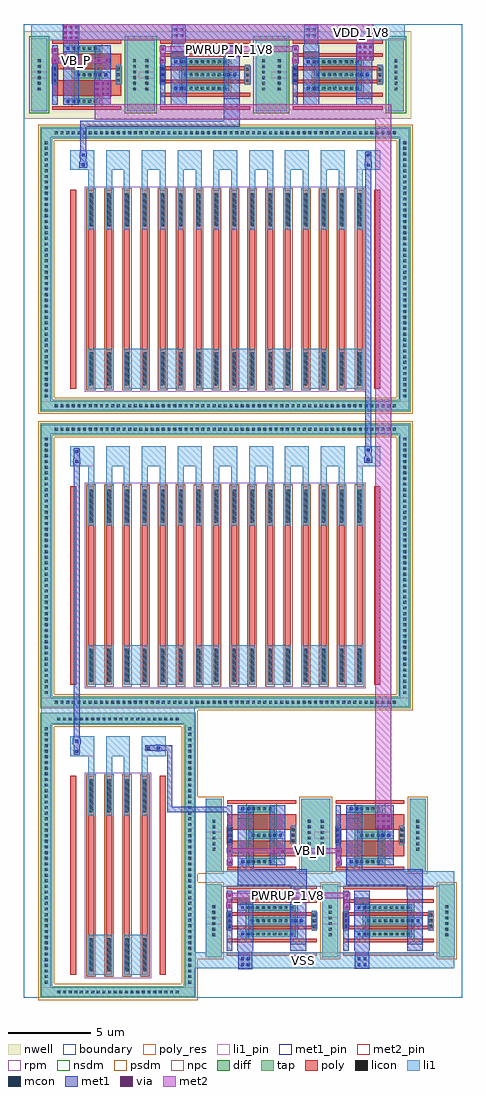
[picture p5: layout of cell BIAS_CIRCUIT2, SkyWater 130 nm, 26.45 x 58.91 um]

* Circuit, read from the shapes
.subckt BIAS_CIRCUIT2 PWRUP_1V8 PWRUP_N_1V8 VB_N VB_P VDD_1V8 VSS
XM1 JNWATR_NCH_8C1F2_6/D PWRUP_1V8 VSS VSS sky130_fd_pr__nfet_01v8 w=2.88 l=0.22 m=2
XM2 VB_N VB_N JNWATR_NCH_8C1F2_6/D VSS sky130_fd_pr__nfet_01v8 w=1.6 l=0.94 m=2
XM3 VB_P VB_N JNWATR_NCH_8C1F2_9/D VSS sky130_fd_pr__nfet_01v8 w=1.6 l=0.94 m=2
XM4 JNWATR_NCH_8C1F2_9/D PWRUP_1V8 VSS VSS sky130_fd_pr__nfet_01v8 w=2.88 l=0.22 m=2
XM5 VB_P VB_P JNWATR_PCH_8C1F2_3/D VDD_1V8 sky130_fd_pr__pfet_01v8 w=1.6 l=0.94 m=2
XM6 JNWATR_PCH_8C1F2_7/D PWRUP_N_1V8 VDD_1V8 VDD_1V8 sky130_fd_pr__pfet_01v8 w=2.88 l=0.22 m=2
XM7 JNWATR_PCH_8C1F2_3/D PWRUP_N_1V8 VDD_1V8 VDD_1V8 sky130_fd_pr__pfet_01v8 w=2.88 l=0.22 m=2
XR8 JNWTR_RPPO16_1/N n1 VSS sky130_fd_pr__res_high_po w=0.36 l=7.24
XR9 JNWTR_RPPO16_1/N n2 VSS sky130_fd_pr__res_high_po w=0.36 l=7.24
XR10 JNWATR_PCH_8C1F2_7/D n3 VSS sky130_fd_pr__res_high_po w=0.36 l=7.24
XR11 n4 n1 VSS sky130_fd_pr__res_high_po w=0.36 l=7.24
XR12 n5 n2 VSS sky130_fd_pr__res_high_po w=0.36 l=7.24
XR13 n6 n3 VSS sky130_fd_pr__res_high_po w=0.36 l=7.24
XR14 n4 n7 VSS sky130_fd_pr__res_high_po w=0.36 l=7.24
XR15 n5 n8 VSS sky130_fd_pr__res_high_po w=0.36 l=7.24
XR16 n6 n9 VSS sky130_fd_pr__res_high_po w=0.36 l=7.24
XR17 VB_N n7 VSS sky130_fd_pr__res_high_po w=0.36 l=7.24
XR18 n10 n8 VSS sky130_fd_pr__res_high_po w=0.36 l=7.24
XR19 n11 n9 VSS sky130_fd_pr__res_high_po w=0.36 l=7.24
XR20 n10 n12 VSS sky130_fd_pr__res_high_po w=0.36 l=7.24
XR21 n11 n13 VSS sky130_fd_pr__res_high_po w=0.36 l=7.24
XR22 n14 n12 VSS sky130_fd_pr__res_high_po w=0.36 l=7.24
XR23 n15 n13 VSS sky130_fd_pr__res_high_po w=0.36 l=7.24
XR24 n14 n16 VSS sky130_fd_pr__res_high_po w=0.36 l=7.24
XR25 n15 n17 VSS sky130_fd_pr__res_high_po w=0.36 l=7.24
XR26 n18 n16 VSS sky130_fd_pr__res_high_po w=0.36 l=7.24
XR27 n19 n17 VSS sky130_fd_pr__res_high_po w=0.36 l=7.24
XR28 n18 n20 VSS sky130_fd_pr__res_high_po w=0.36 l=7.24
XR29 n19 n21 VSS sky130_fd_pr__res_high_po w=0.36 l=7.24
XR30 n22 n20 VSS sky130_fd_pr__res_high_po w=0.36 l=7.24
XR31 n23 n21 VSS sky130_fd_pr__res_high_po w=0.36 l=7.24
XR32 n22 n24 VSS sky130_fd_pr__res_high_po w=0.36 l=7.24
XR33 n23 n25 VSS sky130_fd_pr__res_high_po w=0.36 l=7.24
XR34 n26 n24 VSS sky130_fd_pr__res_high_po w=0.36 l=7.24
XR35 n27 n25 VSS sky130_fd_pr__res_high_po w=0.36 l=7.24
XR36 n26 n28 VSS sky130_fd_pr__res_high_po w=0.36 l=7.24
XR37 n27 n29 VSS sky130_fd_pr__res_high_po w=0.36 l=7.24
XR38 n30 n28 VSS sky130_fd_pr__res_high_po w=0.36 l=7.24
XR39 n31 n29 VSS sky130_fd_pr__res_high_po w=0.36 l=7.24
XR40 n30 n32 VSS sky130_fd_pr__res_high_po w=0.36 l=7.24
XR41 n31 n33 VSS sky130_fd_pr__res_high_po w=0.36 l=7.24
XR42 JNWTR_RPPO16_2/N n32 VSS sky130_fd_pr__res_high_po w=0.36 l=7.24
XR43 JNWTR_RPPO16_2/N n33 VSS sky130_fd_pr__res_high_po w=0.36 l=7.24
.ends

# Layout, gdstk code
from math import pi, radians
import gdstk
lib = gdstk.Library(unit=1e-6, precision=1e-09)
def R(c, l, rs):  # rectangles x0, y0, x1, y1
    for r in rs: c.add(gdstk.rectangle(r[:2], r[2:], *l))
def A(c, l, x, y, w, h, nx, ny, dx, dy):  # array of equal rectangles
    R(c, l, [(x+i*dx, y+j*dy, x+i*dx+w, y+j*dy+h) for i in range(nx) for j in range(ny)])
nwell = (64, 20)
diff = (65, 20)
tap = (65, 44)
poly_res = (66, 13)
poly = (66, 20)
licon = (66, 44)
li1_pin = (67, 16)
li1 = (67, 20)
mcon = (67, 44)
met1_pin = (68, 16)
met1 = (68, 20)
via = (68, 44)
met2_pin = (69, 16)
met2 = (69, 20)
rpm = (86, 20)
nsdm = (93, 44)
psdm = (94, 20)
npc = (95, 20)
boundary = (235, 4)

jnwtr_res4 = lib.new_cell('JNWTR_RES4')
A(jnwtr_res4, poly_res, 0.9, 1.72, 0.36, 7.36, 4, 1, 1.08, 0)
A(jnwtr_res4, poly, -0.18, -0.6, 0.36, 12, 6, 1, 1.08, 0)
A(jnwtr_res4, licon, 0.985, -0.4, 0.19, 2, 4, 2, 1.08, 9.6)
R(jnwtr_res4, li1_pin, [(-0.18,12.6,1.26,13.8), (4.14,12.6,5.58,13.8)])
A(jnwtr_res4, li1, 0.9, 9, 0.36, 3.6, 4, 1, 1.08, 0)
A(jnwtr_res4, li1, -0.18, 12.6, 1.44, 1.2, 3, 1, 2.16, 0)
R(jnwtr_res4, li1, [(0.9,-0.6,2.34,1.8), (3.06,-0.6,4.5,1.8)])
R(jnwtr_res4, rpm, [(0.7,-0.8,4.7,11.6)])
A(jnwtr_res4, psdm, 0.79, -0.71, 0.58, 12.22, 4, 1, 1.08, 0)
A(jnwtr_res4, npc, 0.805, -0.695, 0.55, 12.19, 4, 1, 1.08, 0)
R(jnwtr_res4, boundary, [(0,0,5.4,13.2)])
jnwtr_res4.add(gdstk.Label('N', (0.54,13.2), layer=67, texttype=5))
jnwtr_res4.add(gdstk.Label('P', (4.86,13.2), layer=67, texttype=5))

jnwtr_rppo4 = lib.new_cell('JNWTR_RPPO4')
R(jnwtr_rppo4, tap, [(0,0,9.4,0.72), (0,0.72,0.72,16.48), (8.68,0.72,9.4,16.48), (0,16.48,9.4,17.2)])
A(jnwtr_rppo4, licon, 1.045, 0.275, 0.17, 0.17, 22, 2, 0.34, 16.48)
A(jnwtr_rppo4, licon, 0.275, 0.865, 0.17, 0.17, 1, 46, 0, 0.34)
A(jnwtr_rppo4, licon, 8.955, 0.865, 0.17, 0.17, 1, 46, 0, 0.34)
R(jnwtr_rppo4, li1_pin, [(0.08,0.08,9.32,0.64), (1.82,14.6,3.26,15.8), (6.14,14.6,7.58,15.8)])
R(jnwtr_rppo4, li1, [(0.08,0.08,9.32,0.64), (0.08,0.64,0.64,16.56), (8.76,0.64,9.32,16.56), (1.82,14.6,3.26,15.8), (6.14,14.6,7.58,15.8), (0.08,16.56,9.32,17.12)])
R(jnwtr_rppo4, psdm, [(-0.125,-0.125,9.525,0.845), (-0.125,0.845,0.845,16.355), (8.555,0.845,9.525,16.355), (-0.125,16.355,9.525,17.325)])
R(jnwtr_rppo4, boundary, [(0,0,9.4,17.2)])
jnwtr_rppo4.add(gdstk.Reference(jnwtr_res4, (2,2)))
jnwtr_rppo4.add(gdstk.Label('P', (6.86,15.2), layer=67, texttype=5))
jnwtr_rppo4.add(gdstk.Label('N', (2.54,15.2), layer=67, texttype=5))
jnwtr_rppo4.add(gdstk.Label('B', (4.7,0.36), layer=67, texttype=5))

jnwtr_res16 = lib.new_cell('JNWTR_RES16')
A(jnwtr_res16, poly_res, 0.9, 1.72, 0.36, 7.36, 16, 1, 1.08, 0)
A(jnwtr_res16, poly, -0.18, -0.6, 0.36, 12, 18, 1, 1.08, 0)
A(jnwtr_res16, licon, 0.985, -0.4, 0.19, 2, 16, 2, 1.08, 9.6)
R(jnwtr_res16, li1_pin, [(-0.18,12.6,1.26,13.8), (17.1,12.6,18.54,13.8)])
A(jnwtr_res16, li1, 0.9, -0.6, 1.44, 2.4, 8, 1, 2.16, 0)
A(jnwtr_res16, li1, 0.9, 9, 0.36, 3.6, 16, 1, 1.08, 0)
A(jnwtr_res16, li1, -0.18, 12.6, 1.44, 1.2, 9, 1, 2.16, 0)
R(jnwtr_res16, rpm, [(0.7,-0.8,17.66,11.6)])
A(jnwtr_res16, psdm, 0.79, -0.71, 0.58, 12.22, 16, 1, 1.08, 0)
A(jnwtr_res16, npc, 0.805, -0.695, 0.55, 12.19, 16, 1, 1.08, 0)
R(jnwtr_res16, boundary, [(0,0,18.36,13.2)])
jnwtr_res16.add(gdstk.Label('N', (0.54,13.2), layer=67, texttype=5))
jnwtr_res16.add(gdstk.Label('P', (17.82,13.2), layer=67, texttype=5))

jnwtr_rppo16 = lib.new_cell('JNWTR_RPPO16')
R(jnwtr_rppo16, tap, [(0,0,22.36,0.72), (0,0.72,0.72,16.48), (21.64,0.72,22.36,16.48), (0,16.48,22.36,17.2)])
A(jnwtr_rppo16, licon, 0.895, 0.275, 0.17, 0.17, 61, 2, 0.34, 16.48)
A(jnwtr_rppo16, licon, 0.275, 0.865, 0.17, 0.17, 1, 46, 0, 0.34)
A(jnwtr_rppo16, licon, 21.915, 0.865, 0.17, 0.17, 1, 46, 0, 0.34)
R(jnwtr_rppo16, li1_pin, [(0.08,0.08,22.28,0.64), (1.82,14.6,3.26,15.8), (19.1,14.6,20.54,15.8)])
R(jnwtr_rppo16, li1, [(0.08,0.08,22.28,0.64), (0.08,0.64,0.64,16.56), (21.72,0.64,22.28,16.56), (1.82,14.6,3.26,15.8), (19.1,14.6,20.54,15.8), (0.08,16.56,22.28,17.12)])
R(jnwtr_rppo16, psdm, [(-0.125,-0.125,22.485,0.845), (-0.125,0.845,0.845,16.355), (21.515,0.845,22.485,16.355), (-0.125,16.355,22.485,17.325)])
R(jnwtr_rppo16, boundary, [(0,0,22.36,17.2)])
jnwtr_rppo16.add(gdstk.Reference(jnwtr_res16, (2,2)))
jnwtr_rppo16.add(gdstk.Label('P', (19.82,15.2), layer=67, texttype=5))
jnwtr_rppo16.add(gdstk.Label('N', (2.54,15.2), layer=67, texttype=5))
jnwtr_rppo16.add(gdstk.Label('B', (11.18,0.36), layer=67, texttype=5))

jnwatr_pch_8c1f2 = lib.new_cell('JNWATR_PCH_8C1F2')
R(jnwatr_pch_8c1f2, nwell, [(-0.92,-0.64,7.96,4.64)])
R(jnwatr_pch_8c1f2, diff, [(2.08,1,4.96,3)])
R(jnwatr_pch_8c1f2, tap, [(-0.48,-0.2,0.48,4.2), (6.56,-0.2,7.52,4.2)])
A(jnwatr_pch_8c1f2, poly, 0.8, -0.11, 5.44, 0.22, 1, 6, 0, 0.8)
R(jnwatr_pch_8c1f2, poly, [(0.8,1.4,1.12,1.49), (5.92,1.4,6.24,1.49), (0.8,1.71,1.12,2.29), (5.92,1.71,6.24,2.29), (0.8,2.51,1.12,2.6), (5.92,2.51,6.24,2.6)])
A(jnwatr_pch_8c1f2, licon, -0.085, 1.065, 0.17, 0.17, 1, 6, 0, 0.34)
A(jnwatr_pch_8c1f2, licon, 6.955, 1.065, 0.17, 0.17, 1, 6, 0, 0.34)
A(jnwatr_pch_8c1f2, licon, 2.245, 1.115, 0.17, 0.17, 8, 3, 0.34, 0.8)
A(jnwatr_pch_8c1f2, licon, 0.87, 1.575, 0.17, 0.17, 1, 3, 0, 0.34)
A(jnwatr_pch_8c1f2, licon, 5.99, 1.575, 0.17, 0.17, 1, 3, 0, 0.34)
R(jnwatr_pch_8c1f2, li1_pin, [(-0.48,1.8,0.48,2.2)])
R(jnwatr_pch_8c1f2, li1, [(-0.48,-0.2,0.48,4.2), (6.56,-0.2,7.52,4.2), (1.44,1,4.96,1.4), (0.8,1.4,1.12,2.6), (5.92,1.4,6.24,2.6), (2.08,1.8,5.6,2.2), (1.44,2.6,4.96,3)])
A(jnwatr_pch_8c1f2, mcon, 0.87, 1.555, 0.17, 0.17, 1, 3, 0, 0.36)
R(jnwatr_pch_8c1f2, mcon, [(1.655,1.115,1.825,1.285), (2.015,1.115,2.185,1.285), (4.855,1.915,5.025,2.085), (5.215,1.915,5.385,2.085), (1.655,2.715,1.825,2.885), (2.015,2.715,2.185,2.885)])
R(jnwatr_pch_8c1f2, met1_pin, [(4.64,0.2,5.6,0.6), (0.8,1.8,1.12,2.2), (1.44,3,2.4,3.4)])
R(jnwatr_pch_8c1f2, met1, [(0.8,0.2,1.12,3.8), (1.44,0.2,2.4,3.8), (4.64,0.2,5.6,3.8)])
R(jnwatr_pch_8c1f2, nsdm, [(-0.605,-0.325,0.605,4.325), (6.435,-0.325,7.645,4.325)])
R(jnwatr_pch_8c1f2, psdm, [(1.955,0.875,5.085,3.125)])
R(jnwatr_pch_8c1f2, npc, [(0.77,1.475,1.14,2.525), (5.89,1.475,6.26,2.525)])
R(jnwatr_pch_8c1f2, boundary, [(0,0,7.04,4)])
jnwatr_pch_8c1f2.add(gdstk.Label('D', (5.12,0.4), layer=68, texttype=5))
jnwatr_pch_8c1f2.add(gdstk.Label('G', (0.96,2), layer=68, texttype=5))
jnwatr_pch_8c1f2.add(gdstk.Label('S', (1.92,3.2), layer=68, texttype=5))
jnwatr_pch_8c1f2.add(gdstk.Label('B', (0,2), layer=67, texttype=5))

jnwatr_pch_4c5f0 = lib.new_cell('JNWATR_PCH_4C5F0')
R(jnwatr_pch_4c5f0, nwell, [(-0.92,-0.64,6.68,4.64)])
R(jnwatr_pch_4c5f0, diff, [(2.08,0.2,3.68,3.8)])
R(jnwatr_pch_4c5f0, tap, [(-0.48,-0.2,0.48,4.2), (5.28,-0.2,6.24,4.2)])
R(jnwatr_pch_4c5f0, poly, [(0.8,-0.11,4.96,0.11), (0.8,0.73,4.96,1.67), (0.8,1.67,1.12,2.33), (4.64,1.67,4.96,2.33), (0.8,2.33,4.96,3.27), (0.8,3.89,4.96,4.11)])
A(jnwatr_pch_4c5f0, licon, 2.285, 0.315, 0.17, 0.17, 4, 3, 0.34, 1.6)
A(jnwatr_pch_4c5f0, licon, -0.085, 1.065, 0.17, 0.17, 1, 6, 0, 0.34)
A(jnwatr_pch_4c5f0, licon, 5.675, 1.065, 0.17, 0.17, 1, 6, 0, 0.34)
A(jnwatr_pch_4c5f0, licon, 0.87, 1.575, 0.17, 0.17, 1, 3, 0, 0.34)
A(jnwatr_pch_4c5f0, licon, 4.71, 1.575, 0.17, 0.17, 1, 3, 0, 0.34)
R(jnwatr_pch_4c5f0, li1_pin, [(-0.48,1.8,0.48,2.2)])
R(jnwatr_pch_4c5f0, li1, [(-0.48,-0.2,0.48,4.2), (5.28,-0.2,6.24,4.2), (1.44,0.2,3.68,0.6), (0.8,1.4,1.12,2.6), (4.64,1.4,4.96,2.6), (2.08,1.8,4.32,2.2), (1.44,3.4,3.68,3.8)])
A(jnwatr_pch_4c5f0, mcon, 0.87, 1.555, 0.17, 0.17, 1, 3, 0, 0.36)
R(jnwatr_pch_4c5f0, mcon, [(1.655,0.315,1.825,0.485), (2.015,0.315,2.185,0.485), (3.575,1.915,3.745,2.085), (3.935,1.915,4.105,2.085), (1.655,3.515,1.825,3.685), (2.015,3.515,2.185,3.685)])
R(jnwatr_pch_4c5f0, met1_pin, [(3.36,0.2,4.32,0.6), (0.8,1.8,1.12,2.2), (1.44,3,2.4,3.4)])
R(jnwatr_pch_4c5f0, met1, [(0.8,0.2,1.12,3.8), (1.44,0.2,2.4,3.8), (3.36,0.2,4.32,3.8)])
R(jnwatr_pch_4c5f0, nsdm, [(-0.605,-0.325,0.605,4.325), (5.155,-0.325,6.365,4.325)])
R(jnwatr_pch_4c5f0, psdm, [(1.955,0.075,3.805,3.925)])
R(jnwatr_pch_4c5f0, npc, [(0.77,1.475,1.14,2.525), (4.61,1.475,4.98,2.525)])
R(jnwatr_pch_4c5f0, boundary, [(0,0,5.76,4)])
jnwatr_pch_4c5f0.add(gdstk.Label('D', (3.84,0.4), layer=68, texttype=5))
jnwatr_pch_4c5f0.add(gdstk.Label('G', (0.96,2), layer=68, texttype=5))
jnwatr_pch_4c5f0.add(gdstk.Label('S', (1.92,3.2), layer=68, texttype=5))
jnwatr_pch_4c5f0.add(gdstk.Label('B', (0,2), layer=67, texttype=5))

jnwatr_nch_4c5f0 = lib.new_cell('JNWATR_NCH_4C5F0')
R(jnwatr_nch_4c5f0, diff, [(2.08,0.2,3.68,3.8)])
R(jnwatr_nch_4c5f0, tap, [(-0.48,-0.2,0.48,4.2), (5.28,-0.2,6.24,4.2)])
R(jnwatr_nch_4c5f0, poly, [(0.8,-0.11,4.96,0.11), (0.8,0.73,4.96,1.67), (0.8,1.67,1.12,2.33), (4.64,1.67,4.96,2.33), (0.8,2.33,4.96,3.27), (0.8,3.89,4.96,4.11)])
A(jnwatr_nch_4c5f0, licon, 2.285, 0.315, 0.17, 0.17, 4, 3, 0.34, 1.6)
A(jnwatr_nch_4c5f0, licon, -0.085, 1.065, 0.17, 0.17, 1, 6, 0, 0.34)
A(jnwatr_nch_4c5f0, licon, 5.675, 1.065, 0.17, 0.17, 1, 6, 0, 0.34)
A(jnwatr_nch_4c5f0, licon, 0.87, 1.575, 0.17, 0.17, 1, 3, 0, 0.34)
A(jnwatr_nch_4c5f0, licon, 4.71, 1.575, 0.17, 0.17, 1, 3, 0, 0.34)
R(jnwatr_nch_4c5f0, li1_pin, [(-0.48,1.8,0.48,2.2)])
R(jnwatr_nch_4c5f0, li1, [(-0.48,-0.2,0.48,4.2), (5.28,-0.2,6.24,4.2), (1.44,0.2,3.68,0.6), (0.8,1.4,1.12,2.6), (4.64,1.4,4.96,2.6), (2.08,1.8,4.32,2.2), (1.44,3.4,3.68,3.8)])
A(jnwatr_nch_4c5f0, mcon, 0.87, 1.555, 0.17, 0.17, 1, 3, 0, 0.36)
R(jnwatr_nch_4c5f0, mcon, [(1.655,0.315,1.825,0.485), (2.015,0.315,2.185,0.485), (3.575,1.915,3.745,2.085), (3.935,1.915,4.105,2.085), (1.655,3.515,1.825,3.685), (2.015,3.515,2.185,3.685)])
R(jnwatr_nch_4c5f0, met1_pin, [(3.36,0.2,4.32,0.6), (0.8,1.8,1.12,2.2), (1.44,3,2.4,3.4)])
R(jnwatr_nch_4c5f0, met1, [(0.8,0.2,1.12,3.8), (1.44,0.2,2.4,3.8), (3.36,0.2,4.32,3.8)])
R(jnwatr_nch_4c5f0, nsdm, [(1.955,0.075,3.805,3.925)])
R(jnwatr_nch_4c5f0, psdm, [(-0.605,-0.325,0.605,4.325), (5.155,-0.325,6.365,4.325)])
R(jnwatr_nch_4c5f0, npc, [(0.77,1.475,1.14,2.525), (4.61,1.475,4.98,2.525)])
R(jnwatr_nch_4c5f0, boundary, [(0,0,5.76,4)])
jnwatr_nch_4c5f0.add(gdstk.Label('D', (3.84,0.4), layer=68, texttype=5))
jnwatr_nch_4c5f0.add(gdstk.Label('G', (0.96,2), layer=68, texttype=5))
jnwatr_nch_4c5f0.add(gdstk.Label('S', (1.92,3.2), layer=68, texttype=5))
jnwatr_nch_4c5f0.add(gdstk.Label('B', (0,2), layer=67, texttype=5))

jnwatr_nch_8c1f2 = lib.new_cell('JNWATR_NCH_8C1F2')
R(jnwatr_nch_8c1f2, diff, [(2.08,1,4.96,3)])
R(jnwatr_nch_8c1f2, tap, [(-0.48,-0.2,0.48,4.2), (6.56,-0.2,7.52,4.2)])
A(jnwatr_nch_8c1f2, poly, 0.8, -0.11, 5.44, 0.22, 1, 6, 0, 0.8)
R(jnwatr_nch_8c1f2, poly, [(0.8,1.4,1.12,1.49), (5.92,1.4,6.24,1.49), (0.8,1.71,1.12,2.29), (5.92,1.71,6.24,2.29), (0.8,2.51,1.12,2.6), (5.92,2.51,6.24,2.6)])
A(jnwatr_nch_8c1f2, licon, -0.085, 1.065, 0.17, 0.17, 1, 6, 0, 0.34)
A(jnwatr_nch_8c1f2, licon, 6.955, 1.065, 0.17, 0.17, 1, 6, 0, 0.34)
A(jnwatr_nch_8c1f2, licon, 2.245, 1.115, 0.17, 0.17, 8, 3, 0.34, 0.8)
A(jnwatr_nch_8c1f2, licon, 0.87, 1.575, 0.17, 0.17, 1, 3, 0, 0.34)
A(jnwatr_nch_8c1f2, licon, 5.99, 1.575, 0.17, 0.17, 1, 3, 0, 0.34)
R(jnwatr_nch_8c1f2, li1_pin, [(-0.48,1.8,0.48,2.2)])
R(jnwatr_nch_8c1f2, li1, [(-0.48,-0.2,0.48,4.2), (6.56,-0.2,7.52,4.2), (1.44,1,4.96,1.4), (0.8,1.4,1.12,2.6), (5.92,1.4,6.24,2.6), (2.08,1.8,5.6,2.2), (1.44,2.6,4.96,3)])
A(jnwatr_nch_8c1f2, mcon, 0.87, 1.555, 0.17, 0.17, 1, 3, 0, 0.36)
R(jnwatr_nch_8c1f2, mcon, [(1.655,1.115,1.825,1.285), (2.015,1.115,2.185,1.285), (4.855,1.915,5.025,2.085), (5.215,1.915,5.385,2.085), (1.655,2.715,1.825,2.885), (2.015,2.715,2.185,2.885)])
R(jnwatr_nch_8c1f2, met1_pin, [(4.64,0.2,5.6,0.6), (0.8,1.8,1.12,2.2), (1.44,3,2.4,3.4)])
R(jnwatr_nch_8c1f2, met1, [(0.8,0.2,1.12,3.8), (1.44,0.2,2.4,3.8), (4.64,0.2,5.6,3.8)])
R(jnwatr_nch_8c1f2, nsdm, [(1.955,0.875,5.085,3.125)])
R(jnwatr_nch_8c1f2, psdm, [(-0.605,-0.325,0.605,4.325), (6.435,-0.325,7.645,4.325)])
R(jnwatr_nch_8c1f2, npc, [(0.77,1.475,1.14,2.525), (5.89,1.475,6.26,2.525)])
R(jnwatr_nch_8c1f2, boundary, [(0,0,7.04,4)])
jnwatr_nch_8c1f2.add(gdstk.Label('D', (5.12,0.4), layer=68, texttype=5))
jnwatr_nch_8c1f2.add(gdstk.Label('G', (0.96,2), layer=68, texttype=5))
jnwatr_nch_8c1f2.add(gdstk.Label('S', (1.92,3.2), layer=68, texttype=5))
jnwatr_nch_8c1f2.add(gdstk.Label('B', (0,2), layer=67, texttype=5))

bias_circuit2 = lib.new_cell('BIAS_CIRCUIT2')
R(bias_circuit2, li1_pin, [(13.26,33.22,19.52,34.18), (17.23,89.22,22.48,90.18)])
R(bias_circuit2, li1, [(12.48,33.21,13.26,33.22), (19.52,33.21,20.3,33.22), (9.32,33.22,25.48,34.18), (10.47,34.18,11.43,34.84), (10.47,37.32,11.43,38.12), (10.47,38.12,25.48,39.08), (2.53,46.15,2.83,46.45), (6.87,46.37,7.13,46.63), (7.47,46.37,7.73,46.63), (2.5,46.76,2.86,47.06), (0.56,47.98,1.12,48.42), (9.24,47.98,9.8,48.42), (0.56,48.52,9.8,49.08), (0.56,49.08,1.12,49.28), (9.24,49.08,9.8,49.28), (2.53,63.65,2.83,63.95), (20.1,63.76,20.46,64.06), (2.53,64.25,2.83,64.55), (20.13,64.35,20.43,64.65), (20.13,81.55,20.43,81.85), (2.9,81.56,3.26,81.86), (2.93,82.15,3.23,82.45), (20.13,82.15,20.43,82.45), (-0.06,88.14,0.9,89.22), (-0.06,89.22,22.48,90.18)])
R(bias_circuit2, mcon, [(12.605,33.335,12.775,33.505), (12.965,33.335,13.135,33.505), (19.645,33.335,19.815,33.505), (20.005,33.335,20.175,33.505), (12.605,33.695,12.775,33.865), (12.965,33.695,13.135,33.865), (19.645,33.695,19.815,33.865), (20.005,33.695,20.175,33.865), (2.595,46.215,2.765,46.385), (6.915,46.415,7.085,46.585), (7.515,46.415,7.685,46.585), (2.595,46.825,2.765,46.995), (2.595,63.715,2.765,63.885), (20.195,63.825,20.365,63.995), (2.595,64.315,2.765,64.485), (20.195,64.415,20.365,64.585), (20.195,81.615,20.365,81.785), (2.995,81.625,3.165,81.795), (2.995,82.215,3.165,82.385), (20.195,82.215,20.365,82.385), (8.575,89.435,8.745,89.605), (8.935,89.435,9.105,89.605), (16.575,89.435,16.745,89.605), (16.935,89.435,17.105,89.605), (8.575,89.795,8.745,89.965), (8.935,89.795,9.105,89.965), (16.575,89.795,16.745,89.965), (16.935,89.795,17.105,89.965)])
R(bias_circuit2, met1, [(12.45,33.15,13.29,35.12), (19.46,33.18,20.36,34.02), (19.49,34.02,20.33,35.12), (18.84,36.71,19.16,37.09), (11.74,36.81,12.06,37.19), (11.75,37.41,12.07,37.79), (18.84,37.41,19.16,37.44), (15.62,37.42,16.58,38.22), (18.81,37.44,19.19,37.76), (22.62,37.52,23.58,38.22), (18.84,37.76,19.16,37.79), (12.41,38.22,16.58,39.18), (18.95,38.22,23.58,39.18), (12.41,39.18,13.37,40.76), (18.95,39.18,19.91,40.76), (11.77,39.41,12.09,39.79), (18.34,39.41,18.66,39.79), (14.44,40.11,14.76,40.14), (14.94,40.11,15.26,40.49), (18.34,40.11,18.66,40.14), (11.74,40.14,12.12,40.46), (14.41,40.14,14.79,40.46), (18.31,40.14,18.69,40.46), (14.44,40.46,14.76,40.49), (18.34,40.46,18.66,40.49), (20.72,41.59,21.68,42.61), (8.14,42.64,12.09,42.96), (8.14,42.96,8.46,46.34), (2.5,46.09,2.86,46.73), (7.44,46.31,7.76,46.34), (6.81,46.34,8.46,46.66), (7.44,46.66,7.76,46.69), (2.44,46.73,2.92,47.09), (2.5,47.09,2.86,63.62), (2.47,63.62,2.89,63.98), (20.04,63.73,20.52,64.09), (2.5,63.98,2.86,64.61), (20.1,64.09,20.46,64.32), (20.07,64.32,20.49,64.68), (20.1,64.68,20.46,81.52), (20.07,81.52,20.49,81.88), (2.84,81.53,3.32,81.89), (20.1,81.88,20.46,82.51), (2.9,81.89,3.26,82.12), (2.87,82.12,3.29,82.48), (2.9,82.48,3.26,84.02), (2.9,84.02,12.52,84.38), (11.56,84.38,12.52,86.3), (1.86,85.72,2.82,89.22), (3.75,85.82,4.77,86.78), (1.22,87.81,1.54,87.84), (3.84,87.81,4.16,87.84), (4.34,87.81,4.66,88.19), (7.72,87.81,8.04,88.19), (15.74,87.81,16.06,88.19), (1.19,87.84,1.57,88.16), (3.81,87.84,4.19,88.16), (19.62,87.99,20.58,89.01), (8.42,88.1,9.26,90.15), (16.42,88.1,17.26,90.15), (1.22,88.16,1.54,88.19), (3.84,88.16,4.16,88.19), (1.22,88.41,1.54,88.79), (7.72,88.51,8.04,88.54), (15.74,88.51,16.06,88.54), (7.69,88.54,8.07,88.86), (15.71,88.54,16.09,88.86), (7.72,88.86,8.04,88.89), (15.74,88.86,16.06,88.89), (1.83,89.22,2.85,90.18)])
A(bias_circuit2, via, 20.805, 41.705, 0.15, 0.15, 3, 3, 0.32, 0.32)
A(bias_circuit2, via, 3.865, 85.905, 0.15, 0.15, 3, 3, 0.32, 0.32)
A(bias_circuit2, via, 19.705, 88.105, 0.15, 0.15, 3, 3, 0.32, 0.32)
A(bias_circuit2, via, 1.945, 89.305, 0.15, 0.15, 3, 3, 0.32, 0.32)
R(bias_circuit2, via, [(18.925,36.825,19.075,36.975), (11.825,36.925,11.975,37.075), (11.835,37.525,11.985,37.675), (18.925,37.525,19.075,37.675), (11.855,39.525,12.005,39.675), (18.425,39.525,18.575,39.675), (11.855,40.225,12.005,40.375), (14.525,40.225,14.675,40.375), (15.025,40.225,15.175,40.375), (18.425,40.225,18.575,40.375), (1.305,87.925,1.455,88.075), (3.925,87.925,4.075,88.075), (4.425,87.925,4.575,88.075), (7.805,87.925,7.955,88.075), (15.825,87.925,15.975,88.075), (1.305,88.525,1.455,88.675), (7.805,88.625,7.955,88.775), (15.825,88.625,15.975,88.775)])
R(bias_circuit2, met2_pin, [(12.07,37.44,18.84,37.76), (15.26,40.14,18.34,40.46), (1.54,87.84,3.84,88.16), (8.04,88.54,15.74,88.86)])
R(bias_circuit2, met2, [(18.81,36.74,19.19,37.06), (11.71,36.84,12.09,37.16), (18.84,37.06,19.16,37.44), (11.74,37.16,12.06,37.44), (11.72,37.44,19.19,37.76), (18.84,37.76,19.16,37.79), (11.74,39.44,12.12,39.76), (18.31,39.44,18.69,39.76), (11.77,39.76,12.09,40.14), (18.34,39.76,18.66,40.14), (14.44,40.11,14.76,40.14), (11.77,40.14,18.69,40.46), (11.77,40.46,12.09,40.49), (14.44,40.46,14.76,40.49), (18.34,40.46,18.66,40.49), (20.69,41.62,21.71,42.58), (20.72,42.58,21.68,84.42), (3.78,84.42,21.68,85.38), (3.78,85.38,4.74,86.81), (1.22,87.81,1.54,87.84), (3.84,87.81,4.16,87.84), (1.19,87.84,4.69,88.16), (7.69,87.84,8.07,88.16), (15.71,87.84,16.09,88.16), (19.59,88.02,20.61,88.98), (1.22,88.16,1.54,88.44), (3.84,88.16,4.16,88.19), (7.72,88.16,8.04,88.54), (15.74,88.16,16.06,88.54), (1.19,88.44,1.57,88.76), (7.69,88.54,16.09,88.86), (7.72,88.86,8.04,88.89), (15.74,88.86,16.06,88.89), (19.62,88.98,20.58,89.22), (1.86,89.19,2.82,89.22), (1.86,89.22,20.58,90.18), (1.86,90.18,2.82,90.21)])
R(bias_circuit2, psdm, [(10.005,33.755,10.345,38.405), (10.005,38.915,10.365,43.565), (0.355,48.745,10.005,48.785)])
R(bias_circuit2, boundary, [(-0.5,31.42,25.95,90.21)])
bias_circuit2.add(gdstk.Reference(jnwtr_rppo4, (9.88,31.42), rotation=pi, x_reflection=True))
bias_circuit2.add(gdstk.Reference(jnwtr_rppo16, (0.48,48.91)))
bias_circuit2.add(gdstk.Reference(jnwtr_rppo16, (22.84,66.8), rotation=pi, x_reflection=True))
bias_circuit2.add(gdstk.Reference(jnwatr_pch_8c1f2, (14.92,85.14)))
bias_circuit2.add(gdstk.Reference(jnwatr_pch_4c5f0, (0.42,85.14)))
bias_circuit2.add(gdstk.Reference(jnwatr_nch_4c5f0, (10.97,39.24)))
bias_circuit2.add(gdstk.Reference(jnwatr_nch_8c1f2, (10.95,34.08)))
bias_circuit2.add(gdstk.Reference(jnwatr_pch_8c1f2, (6.92,85.14)))
bias_circuit2.add(gdstk.Reference(jnwatr_nch_4c5f0, (17.51,39.24)))
bias_circuit2.add(gdstk.Reference(jnwatr_nch_8c1f2, (17.99,34.08)))
bias_circuit2.add(gdstk.Label('VB_P', (2.69,88), layer=69, texttype=5))
bias_circuit2.add(gdstk.Label('PWRUP_N_1V8', (11.89,88.7), layer=69, texttype=5))
bias_circuit2.add(gdstk.Label('VDD_1V8', (19.855,89.7), layer=67, texttype=5))
bias_circuit2.add(gdstk.Label('PWRUP_1V8', (15.455,37.6), layer=69, texttype=5))
bias_circuit2.add(gdstk.Label('VB_N', (16.8,40.3), layer=69, texttype=5))
bias_circuit2.add(gdstk.Label('VSS', (16.39,33.7), layer=67, texttype=5))

lib.write_gds('BIAS_CIRCUIT2.gds')
